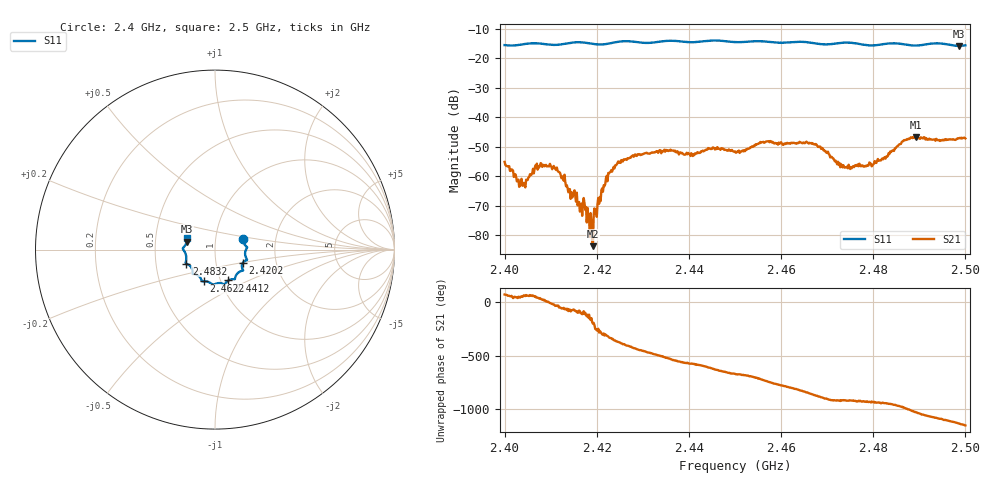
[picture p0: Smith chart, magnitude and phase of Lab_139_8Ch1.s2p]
# Hz S RI R
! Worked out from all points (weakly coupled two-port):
!   601 points, 2.4 GHz to 2.5 GHz, reference 50 ohm
!   highest |S21| = -46.66 dB at 2.4893 GHz (marker M1); lowest = -83.8 dB at 2.4192 GHz (marker M2)
!   lowest |S11| = -15.8 dB at 2.4987 GHz (marker M3), VSWR 1.39, Z = 36.4 + j3.37 ohm
!   |S11| at or under -10 dB: start of sweep to end of sweep
!   S12 and S22 are empty: the file has one direction only
!   S11 on the Smith chart (normalised r, x): 2.4 GHz: 1.36, +0.17; 2.4202 GHz: 1.35, -0.20; 2.4412 GHz: 1.09, -0.39; 2.4622 GHz: 0.83, -0.30; 2.4832 GHz: 0.72, -0.12; 2.5 GHz: 0.73, +0.09
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2.4e9  0.1564 0.0595  0.000686 0.00161  0 0  0 0
2.403667e9  0.1697 0.0219  0.000578 0.000692  0 0  0 0
2.4075e9  0.1781 0.00998  0.00122 0.000694  0 0  0 0
2.411e9  0.1676 -0.0193  0.00104 -0.000823  0 0  0 0
2.416667e9  0.1773 -0.0581  -8.07e-05 -0.000331  0 0  0 0
2.4175e9  0.1739 -0.0597  -5.64e-05 -0.000262  0 0  0 0
2.418667e9  0.1666 -0.0632  -0.000232 -4.66e-05  0 0  0 0
2.419167e9  0.1627 -0.0656  -5.92e-05 2.62e-05  0 0  0 0
2.420167e9  0.1559 -0.0726  -1.59e-05 0.00034  0 0  0 0
2.4225e9  0.1497 -0.0945  0.000912 0.000668  0 0  0 0
2.4245e9  0.1545 -0.1103  0.00163 -0.000343  0 0  0 0
2.433333e9  0.1131 -0.1524  -0.00182 -0.00169  0 0  0 0
2.441167e9  0.075 -0.1721  -0.00181 0.00137  0 0  0 0
2.45e9  0.026 -0.1866  0.00168 0.00202  0 0  0 0
2.462167e9  -0.0633 -0.1767  0.000633 -0.00362  0 0  0 0
2.466667e9  -0.0768 -0.1663  -0.00269 -0.00246  0 0  0 0
2.473667e9  -0.1235 -0.1367  -0.00136 0.000395  0 0  0 0
2.483167e9  -0.1595 -0.0782  -0.00153 0.00157  0 0  0 0
2.483333e9  -0.1604 -0.0777  -0.0016 0.00185  0 0  0 0
2.489333e9  -0.162 -0.03  0.00289 0.00364  0 0  0 0
2.498667e9  -0.1561 0.0451  0.0027 -0.00348  0 0  0 0
2.5e9  -0.1535 0.0632  0.00152 -0.00408  0 0  0 0
